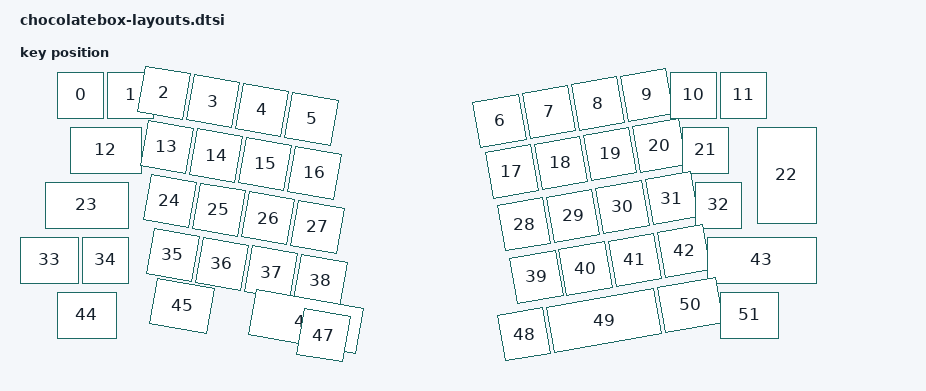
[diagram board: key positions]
#include "./position_map.dtsi"
#include <physical_layouts.dtsi>

/ {
    chocolatebox_physical_layout: chocolatebox_physical_layout {
        compatible = "zmk,physical-layout";
        display-name = "Chocolatebox";
        transform = <&default_transform>;
        kscan = <&kscan0>;
               keys  //                                w    h     x     y    rot    rx    ry
            /* Row0: RC(0,0..11) → 1 2 3 4 5 6 | 7 8 9 0 - = */
            = <&key_physical_attrs              100  100    75     0      0    300     0>  /* C0  1  小指=水平 */
            , <&key_physical_attrs              100  100   175     0      0    300     0>  /* C1  2  小指=水平 */
            , <&key_physical_attrs              100  100   250     0   1000    325     0>  /* C2  3  ← ROW0: 基準より左へ0.25u */
            , <&key_physical_attrs              100  100   350     0   1000    325     0>  /* C3  4  */
            , <&key_physical_attrs              100  100   450     0   1000    325     0>  /* C4  5  */
            , <&key_physical_attrs              100  100   550     0   1000    325     0>  /* C5  6  */
            , <&key_physical_attrs              100  100   900     0  (-1000)  1250    0>  /* C6  7  右手−10° */
            , <&key_physical_attrs              100  100  1000     0  (-1000)  1250    0>  /* C7  8  */
            , <&key_physical_attrs              100  100  1100     0  (-1000)  1250    0>  /* C8  9  */
            , <&key_physical_attrs              100  100  1200     0  (-1000)  1250    0>  /* C9  0  */
            , <&key_physical_attrs              100  100  1300     0      0    1300    0>  /* C10 - 小指=水平 */
            , <&key_physical_attrs              100  100  1400     0      0    1400    0>  /* C11 = 小指=水平 */

            /* Row1: RC(1,1..11) → q w e r t | y u i o p Enter(ISO) */
            , <&key_physical_attrs              150  100   100   110      0    300     0>  /* C1  q 小指=水平（基準段） */
            , <&key_physical_attrs              100  100   275   110   1000    350     0>  /* C2  w  ← 基準 */
            , <&key_physical_attrs              100  100   375   110   1000    350     0>  /* C3  e  */
            , <&key_physical_attrs              100  100   475   110   1000    350     0>  /* C4  r  */
            , <&key_physical_attrs              100  100   575   110   1000    350     0>  /* C5  t  */
            , <&key_physical_attrs              100  100   925   110  (-1000)  1225   110> /* C6  y  */
            , <&key_physical_attrs              100  100  1025   110  (-1000)  1225   110> /* C7  u  */
            , <&key_physical_attrs              100  100  1125   110  (-1000)  1225   110> /* C8  i  */
            , <&key_physical_attrs              100  100  1225   110  (-1000)  1225   110> /* C9  o  */
            , <&key_physical_attrs              100  100  1325   110      0    1300   110> /* C10 p 小指=水平 */
            , <&key_physical_attrs              125  200  1475   110      0    1500   210> /* C11 Enter ISO（水平） */

            /* Row2: RC(2,1..10) → a s d f g | h j k l ; */
            , <&key_physical_attrs              175  100    50   220      0    300     0>  /* C1  a 小指=水平 */
            , <&key_physical_attrs              100  100   300   220   1000    375     0>  /* C2  s  ← ROW2: 基準より右へ0.25u */
            , <&key_physical_attrs              100  100   400   220   1000    375     0>  /* C3  d  */
            , <&key_physical_attrs              100  100   500   220   1000    375     0>  /* C4  f  */
            , <&key_physical_attrs              100  100   600   220   1000    375     0>  /* C5  g  */
            , <&key_physical_attrs              100  100   950   220  (-1000)  1225   220> /* C6  h  */
            , <&key_physical_attrs              100  100  1050   220  (-1000)  1225   220> /* C7  j  */
            , <&key_physical_attrs              100  100  1150   220  (-1000)  1225   220> /* C8  k  */
            , <&key_physical_attrs              100  100  1250   220  (-1000)  1225   220> /* C9  l  */
            , <&key_physical_attrs              100  100  1350   220      0    1500   220> /* C10 ; 小指=水平 */

            /* Row3: RC(3,0..10) → Shift z x c v b | n m , . RShift */
            , <&key_physical_attrs              125  100     0   330      0    300     0>  /* C0  LShift 小指=水平 */
            , <&key_physical_attrs              100  100   125   330      0    300     0>  /* C1  z 小指=水平 */
            , <&key_physical_attrs              100  100   325   330   1000    400     0>  /* C2  x  ← ROW3: 基準より右へ0.5u */
            , <&key_physical_attrs              100  100   425   330   1000    400     0>  /* C3  c  */
            , <&key_physical_attrs              100  100   525   330   1000    400     0>  /* C4  v  */
            , <&key_physical_attrs              100  100   625   330   1000    400     0>  /* C5  b  */
            , <&key_physical_attrs              100  100   975   330  (-1000)  1225   330> /* C6  n  */
            , <&key_physical_attrs              100  100  1075   330  (-1000)  1225   330> /* C7  m  */
            , <&key_physical_attrs              100  100  1175   330  (-1000)  1225   330> /* C8  ,  */
            , <&key_physical_attrs              100  100  1275   330  (-1000)  1225   330> /* C9  .  */
            , <&key_physical_attrs              225  100  1375   330      0    1400   330> /* C10 RShift 小指=水平 */

            /* Row4: RC(4,1,2,4,5,6,7,9,10) → GUI ALT SPACE Fn | Fn BSPC ALT CTRL */
            , <&key_physical_attrs              125  100    75   440      0    300     0>  /* C1  GUI 小指=水平 */
            , <&key_physical_attrs              125  100   350   440   1000    475     0>  /* C2  LAlt ← 基準より右へ0.75u */
            , <&key_physical_attrs              225  100   550   440   1000    550     0>  /* C4  Space */
            , <&key_physical_attrs              100  100   650   440   1000    425     0>  /* C5  Fn   */
            , <&key_physical_attrs              100  100   950   440  (-1000)  1225   440> /* C6  Fn   */
            , <&key_physical_attrs              225  100  1050   440  (-1000)  1225   440> /* C7  Bspc */
            , <&key_physical_attrs              125  100  1275   440  (-1000)  1225   440> /* C9  RAlt */
            , <&key_physical_attrs              125  100  1400   440      0    1425   440> /* C10 RCtrl 小指=水平 */
        ;
    };
};

&layouts_chocolatebox_position_map {
    layout_chocolatebox_map: layout_mable {
        physical-layout = <&chocolatebox_physical_layout>;
        positions
            = < 0  1  2  3  4  5    6  7  8  9 10 11>
            , <   11 12 13 14 15   16 17 18 19 20 21>
            , <   22 23 24 25 26   27 28 29 30 31>
            , <33 34 35 36 37 38   39 40 41 42 43>
            , <   44 45    46 47   48 49    50 51>

            ;
    };
};  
